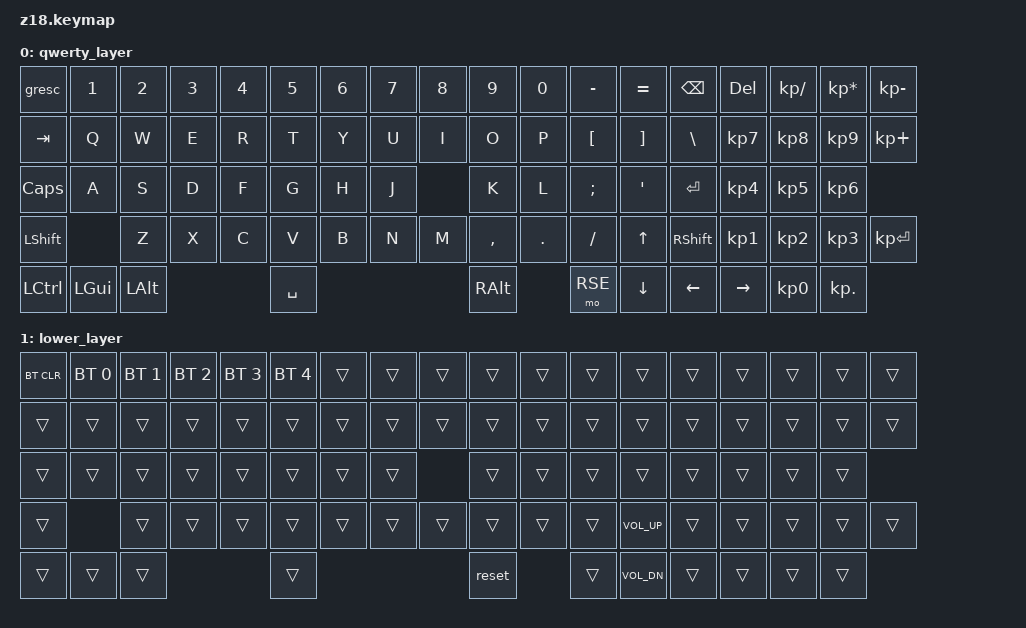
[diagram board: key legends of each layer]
/*
 * Copyright (c) 2021 Eric Lau
 *
 * SPDX-License-Identifier: MIT
 */

#include <behaviors.dtsi>
#include <dt-bindings/zmk/keys.h>
#include <dt-bindings/zmk/bt.h>

#define QWRT 0
#define LWR 1
#define RSE 2


/ {
        keymap {
                compatible = "zmk,keymap";

                qwerty_layer {

                        bindings = <
   &gresc    &kp N1   &kp N2   &kp N3   &kp N4  &kp N5    &kp N6   &kp N7  &kp N8   &kp N9    &kp N0   &kp MINUS  &kp EQUAL &kp BSPC  &kp DEL   &kp KP_DIVIDE  &kp KP_MULTIPLY &kp KP_MINUS
   &kp TAB   &kp Q    &kp W    &kp E    &kp R   &kp T     &kp Y    &kp U   &kp I    &kp O     &kp P    &kp LBKT  &kp RBKT  &kp BSLH  &kp KP_N7 &kp KP_N8      &kp KP_N9       &kp KP_PLUS
   &kp CAPS  &kp A    &kp S    &kp D    &kp F   &kp G     &kp H    &kp J   &kp K    &kp L     &kp SEMI &kp SQT   &kp ENTER           &kp KP_N4 &kp KP_N5      &kp KP_N6
   &kp LSHFT          &kp Z    &kp X    &kp C   &kp V     &kp B    &kp N   &kp M    &kp COMMA &kp DOT  &kp FSLH  &kp UP    &kp RSHFT &kp KP_N1 &kp KP_N2      &kp KP_N3       &kp KP_ENTER
   &kp LCTRL &kp LGUI &kp LALT                  &kp SPACE                           &kp RALT           &mo RSE &kp DOWN  &kp LEFT  &kp RIGHT &kp KP_N0      &kp KP_DOT   
                        >;
                };

                lower_layer {
                        bindings = <
   &bt BT_CLR &bt BT_SEL 0 &bt BT_SEL 1 &bt BT_SEL 2 &bt BT_SEL 3 &bt BT_SEL 4    &trans   &trans  &trans   &trans    &trans   &trans  &trans &trans  &trans   &trans  &trans &trans
   &trans     &trans       &trans       &trans       &trans       &trans          &trans   &trans  &trans   &trans    &trans   &trans  &trans &trans  &trans   &trans  &trans &trans
   &trans     &trans       &trans       &trans       &trans       &trans          &trans   &trans  &trans   &trans    &trans   &trans  &trans         &trans   &trans  &trans
   &trans                  &trans       &trans       &trans       &trans          &trans   &trans  &trans   &trans    &trans   &trans  &kp C_VOL_UP &trans  &trans   &trans  &trans &trans
   &trans     &trans       &trans                    &trans                                                 &reset             &trans  &kp C_VOL_DN &trans  &trans &trans  &trans   
                        >;
                };
        };
};
